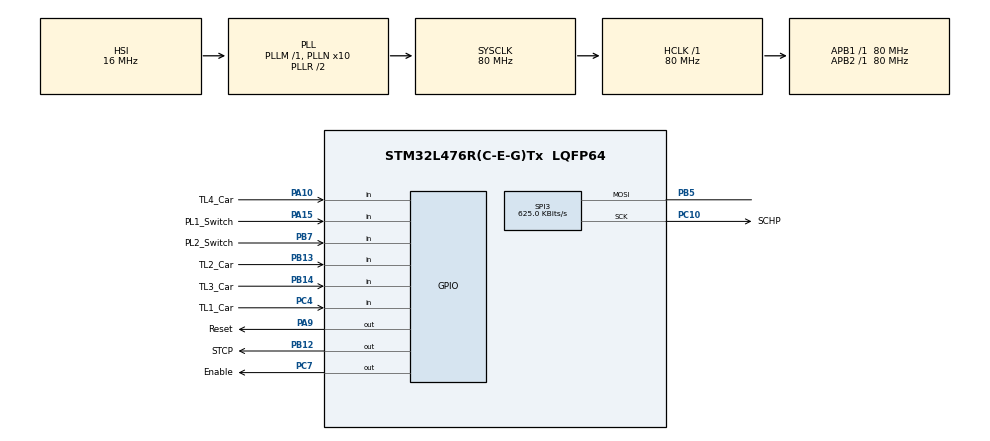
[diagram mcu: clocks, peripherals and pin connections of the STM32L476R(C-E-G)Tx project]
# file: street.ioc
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FREERTOS.BinarySemaphores01=buttonsSem,Dynamic,NULL;switchesSem,Dynamic,NULL
FREERTOS.Mutexes01=event,Dynamic,NULL
FREERTOS.Tasks01=defaultTask,50,128,StartDefaultTask,Default,NULL,Dynamic,NULL,NULL;GPIO_Button1,40,128,Button_Task1,Default,NULL,Dynamic,NULL,NULL;GPIO_Switches,40,128,Switches,Default,NULL,Dynamic,NULL,NULL;Timer_Func,49,128,timer,Default,NULL,Dynamic,NULL,NULL;GPIO_Button2,40,128,Button_Task2,Default,NULL,Dynamic,NULL,NULL
FREERTOS.configTOTAL_HEAP_SIZE=4000
FREERTOS.configUSE_NEWLIB_REENTRANT=1
Mcu.Family=STM32L4
Mcu.Name=STM32L476R(C-E-G)Tx
Mcu.Package=LQFP64
NVIC.PriorityGroup=NVIC_PRIORITYGROUP_4
NVIC.TIM1_UP_TIM16_IRQn=true\:15\:0\:false\:false\:true\:false\:false\:true\:true
NVIC.TimeBase=TIM1_UP_TIM16_IRQn
NVIC.TimeBaseIP=TIM1
PA10.GPIO_Label=TL4_Car
PA10.Signal=GPIO_Input
PA15\ (JTDI).GPIO_Label=PL1_Switch
PA15\ (JTDI).GPIO_PuPd=GPIO_PULLUP
PA15\ (JTDI).Signal=GPIO_Input
PA9.GPIO_Label=Reset
PA9.Signal=GPIO_Output
PB12.GPIO_Label=STCP
PB12.Signal=GPIO_Output
PB13.GPIO_Label=TL2_Car
PB13.Signal=GPIO_Input
PB14.GPIO_Label=TL3_Car
PB14.Signal=GPIO_Input
PB5.Mode=Simplex_Bidirectional_Master
PB5.Signal=SPI3_MOSI
PB7.GPIO_Label=PL2_Switch
PB7.GPIO_PuPd=GPIO_PULLUP
PB7.Signal=GPIO_Input
PC10.GPIO_Label=SCHP
PC10.Mode=Simplex_Bidirectional_Master
PC10.Signal=SPI3_SCK
PC4.GPIO_Label=TL1_Car
PC4.Signal=GPIO_Input
PC7.GPIO_Label=Enable
PC7.Signal=GPIO_Output
PH0-OSC_IN\ (PH0).Mode=HSE-External-Oscillator
PH0-OSC_IN\ (PH0).Signal=RCC_OSC_IN
PH1-OSC_OUT\ (PH1).Mode=HSE-External-Oscillator
PH1-OSC_OUT\ (PH1).Signal=RCC_OSC_OUT
ProjectManager.HeapSize=0x200
ProjectManager.StackSize=0x400
ProjectManager.TargetToolchain=STM32CubeIDE
RCC.ADCFreq_Value=64000000
RCC.AHBFreq_Value=80000000
RCC.APB1Freq_Value=80000000
RCC.APB1TimFreq_Value=80000000
RCC.APB2Freq_Value=80000000
RCC.APB2TimFreq_Value=80000000
RCC.CortexFreq_Value=80000000
RCC.HCLKFreq_Value=80000000
RCC.HSE_VALUE=8000000
RCC.HSI_VALUE=16000000
RCC.LSE_VALUE=32768
RCC.MSI_VALUE=4000000
RCC.PLLN=10
RCC.PLLSourceVirtual=RCC_PLLSOURCE_HSI
RCC.PREFETCH_ENABLE=1
RCC.SYSCLKFreq_VALUE=80000000
RCC.SYSCLKSource=RCC_SYSCLKSOURCE_PLLCLK
RCC.USBFreq_Value=64000000
RCC.VCOOutputFreq_Value=160000000
SPI3.BaudRatePrescaler=SPI_BAUDRATEPRESCALER_128
SPI3.CalculateBaudRate=625.0 KBits/s
SPI3.DataSize=SPI_DATASIZE_8BIT
SPI3.Direction=SPI_DIRECTION_1LINE
SPI3.Mode=SPI_MODE_MASTER
SPI3.VirtualType=VM_MASTER
VP_FREERTOS_VS_CMSIS_V2.Mode=CMSIS_V2
VP_SYS_VS_tim1.Mode=TIM1
board=NUCLEO-L476RG

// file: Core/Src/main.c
/* USER CODE BEGIN Header */
/**
  ******************************************************************************
  * @file           : main.c
  * @brief          : Main program body
  ******************************************************************************
  * @attention
  *
  * Copyright (c) 2022 STMicroelectronics.
  * All rights reserved.
  *
  * This software is licensed under terms that can be found in the LICENSE file
  * in the root directory of this software component.
  * If no LICENSE file comes with this software, it is provided AS-IS.
  *
  ******************************************************************************
  */
/* USER CODE END Header */
#include "main.h"
#include "cmsis_os.h"
#include "spi.h"
#include "gpio.h"

/* USER CODE BEGIN Includes */
#include "FreeRTOS.h"
#include "streetFunc.H"

//#define RUN_TEST_PROGRAM

/* USER CODE END Includes */

void SystemClock_Config(void);
void MX_FREERTOS_Init(void);

int main(void)
{

  /* MCU Configuration--------------------------------------------------------*/

  /* Reset of all peripherals, Initializes the Flash interface and the Systick. */
  HAL_Init();

  /* Configure the system clock */
  SystemClock_Config();

  /* Initialize all configured peripherals */
  MX_GPIO_Init();
  MX_SPI3_Init();
  /* USER CODE BEGIN 2 */
  /* USER CODE BEGIN 2 */
  HAL_GPIO_WritePin(Reset_GPIO_Port, Reset_Pin, GPIO_PIN_SET);
    //Set Enable active low
  HAL_GPIO_WritePin(Enable_GPIO_Port, Enable_Pin, GPIO_PIN_RESET);
#ifdef RUN_TEST_PROGRAM
  	  Test_program();
#else
  	  Led_Clear();
  	 osKernelInitialize();  /* Call init function for freertos objects (in freertos.c) */
  	  MX_FREERTOS_Init();

  	  /* Start scheduler */
  	  osKernelStart();
#endif
  /* USER CODE END 2 */

  /* Init scheduler */
  osKernelInitialize();  /* Call init function for freertos objects (in freertos.c) */
  MX_FREERTOS_Init();

  /* Start scheduler */
  osKernelStart();

  /* We should never get here as control is now taken by the scheduler */
  /* Infinite loop */
  while (1)
  {

  }
}

void SystemClock_Config(void)
{
  RCC_OscInitTypeDef RCC_OscInitStruct = {0};
  RCC_ClkInitTypeDef RCC_ClkInitStruct = {0};

  /** Configure the main internal regulator output voltage
  */
  if (HAL_PWREx_ControlVoltageScaling(PWR_REGULATOR_VOLTAGE_SCALE1) != HAL_OK)
  {
    Error_Handler();
  }

  /** Initializes the RCC Oscillators according to the specified parameters
  * in the RCC_OscInitTypeDef structure.
  */
  RCC_OscInitStruct.OscillatorType = RCC_OSCILLATORTYPE_HSI;
  RCC_OscInitStruct.HSIState = RCC_HSI_ON;
  RCC_OscInitStruct.HSICalibrationValue = RCC_HSICALIBRATION_DEFAULT;
  RCC_OscInitStruct.PLL.PLLState = RCC_PLL_ON;
  RCC_OscInitStruct.PLL.PLLSource = RCC_PLLSOURCE_HSI;
  RCC_OscInitStruct.PLL.PLLM = 1;
  RCC_OscInitStruct.PLL.PLLN = 10;
  RCC_OscInitStruct.PLL.PLLP = RCC_PLLP_DIV7;
  RCC_OscInitStruct.PLL.PLLQ = RCC_PLLQ_DIV2;
  RCC_OscInitStruct.PLL.PLLR = RCC_PLLR_DIV2;
  if (HAL_RCC_OscConfig(&RCC_OscInitStruct) != HAL_OK)
  {
    Error_Handler();
  }

  /** Initializes the CPU, AHB and APB buses clocks
  */
  RCC_ClkInitStruct.ClockType = RCC_CLOCKTYPE_HCLK|RCC_CLOCKTYPE_SYSCLK
                              |RCC_CLOCKTYPE_PCLK1|RCC_CLOCKTYPE_PCLK2;
  RCC_ClkInitStruct.SYSCLKSource = RCC_SYSCLKSOURCE_PLLCLK;
  RCC_ClkInitStruct.AHBCLKDivider = RCC_SYSCLK_DIV1;
  RCC_ClkInitStruct.APB1CLKDivider = RCC_HCLK_DIV1;
  RCC_ClkInitStruct.APB2CLKDivider = RCC_HCLK_DIV1;

  if (HAL_RCC_ClockConfig(&RCC_ClkInitStruct, FLASH_LATENCY_4) != HAL_OK)
  {
    Error_Handler();
  }
}

void HAL_TIM_PeriodElapsedCallback(TIM_HandleTypeDef *htim)
{
  if (htim->Instance == TIM1) {
    HAL_IncTick();
  }
}

void Error_Handler(void)
{
  __disable_irq();
  while (1)
  {
  }
}

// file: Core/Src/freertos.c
/* USER CODE BEGIN Header */
/**
  ******************************************************************************
  * @file          : freertos.c
  * @brief        : Code for freertos applications
  ******************************************************************************
  * @attention
  *
  * Copyright (c) 2022 STMicroelectronics.
  * All rights reserved.
  *
  * This software is licensed under terms that can be found in the LICENSE file
  * in the root directory of this software component.
  * If no LICENSE file comes with this software, it is provided AS-IS.
  *
  ******************************************************************************
  */
/* USER CODE END Header */

#include "FreeRTOS.h"
#include "task.h"
#include "main.h"
#include "cmsis_os.h"

/* USER CODE BEGIN Includes */
#include <stdbool.h>
#include "streetFunc.h"
#include "Test.h"
/* USER CODE END Includes */

/* USER CODE BEGIN PTD */
typedef enum {
	Vertical, Horizontal, Yellow
} states1;

typedef enum {
	Default, Button1, Button2, Horizontal_Car, Vertical_Car
} states2;

static states1 state;
static states2 GPIO_State;
/* USER CODE END PTD */

/* USER CODE BEGIN Variables */
bool Waiting_Cars = false; /*! Control variable to see if a car is waiting at a red light*/

uint32_t toggleFreq = 100; /*!Toogle frequency for pedestrian light*/
uint32_t pedestrianDelay = 6000; /*!Time from pedestrian button pressed to green light*/
uint32_t walkingDelay = 15000; /*!Delay for pedestrian crossing*/
uint32_t orangeDelay = 3000; /*!Delay for orange light time*/
uint32_t greenDelay = 6000; /*!The default delay between green-yellow red-yellow when no cars are present*/
uint32_t redDelayMax = 5000; /*!The maximum delay a car has a red light when arriving at the crossing when cars going vertically are present.*/
/* USER CODE END Variables */
/* Definitions for defaultTask */
osThreadId_t defaultTaskHandle;
const osThreadAttr_t defaultTask_attributes = {
  .name = "defaultTask",
  .stack_size = 128 * 4,
  .priority = (osPriority_t) osPriorityRealtime2,
};
/* Definitions for GPIO_Button1 */
osThreadId_t GPIO_Button1Handle;
const osThreadAttr_t GPIO_Button1_attributes = {
  .name = "GPIO_Button1",
  .stack_size = 128 * 4,
  .priority = (osPriority_t) osPriorityHigh,
};
/* Definitions for GPIO_Switches */
osThreadId_t GPIO_SwitchesHandle;
const osThreadAttr_t GPIO_Switches_attributes = {
  .name = "GPIO_Switches",
  .stack_size = 128 * 4,
  .priority = (osPriority_t) osPriorityHigh,
};
/* Definitions for Timer_Func */
osThreadId_t Timer_FuncHandle;
const osThreadAttr_t Timer_Func_attributes = {
  .name = "Timer_Func",
  .stack_size = 128 * 4,
  .priority = (osPriority_t) osPriorityRealtime1,
};
/* Definitions for GPIO_Button2 */
osThreadId_t GPIO_Button2Handle;
const osThreadAttr_t GPIO_Button2_attributes = {
  .name = "GPIO_Button2",
  .stack_size = 128 * 4,
  .priority = (osPriority_t) osPriorityHigh,
};
/* Definitions for event */
osMutexId_t eventHandle;
const osMutexAttr_t event_attributes = {
  .name = "event"
};
/* Definitions for buttonsSem */
osSemaphoreId_t buttonsSemHandle;
const osSemaphoreAttr_t buttonsSem_attributes = {
  .name = "buttonsSem"
};
/* Definitions for switchesSem */
osSemaphoreId_t switchesSemHandle;
const osSemaphoreAttr_t switchesSem_attributes = {
  .name = "switchesSem"
};

void StartDefaultTask(void *argument);
void Button_Task1(void *argument);
void Switches(void *argument);
void timer(void *argument);
void Button_Task2(void *argument);
void Stall_Function(uint32_t delay);
void Button1_TimerHandler(void);
void Button2_TimerHandler(void);

void MX_FREERTOS_Init(void); /* (MISRA C 2004 rule 8.1) */

void MX_FREERTOS_Init(void) {
  /* Create the mutex(es) */
  /* creation of event */
  eventHandle = osMutexNew(&event_attributes);

  /* Create the semaphores(s) */
  /* creation of buttonsSem */
  buttonsSemHandle = osSemaphoreNew(1, 1, &buttonsSem_attributes);

  /* creation of switchesSem */
  switchesSemHandle = osSemaphoreNew(1, 1, &switchesSem_attributes);

  /* Create the thread(s) */
  /* creation of defaultTask */
  defaultTaskHandle = osThreadNew(StartDefaultTask, NULL, &defaultTask_attributes);

  /* creation of GPIO_Button1 */
  GPIO_Button1Handle = osThreadNew(Button_Task1, NULL, &GPIO_Button1_attributes);

  /* creation of GPIO_Switches */
  GPIO_SwitchesHandle = osThreadNew(Switches, NULL, &GPIO_Switches_attributes);

  /* creation of Timer_Func */
  Timer_FuncHandle = osThreadNew(timer, NULL, &Timer_Func_attributes);

  /* creation of GPIO_Button2 */
  GPIO_Button2Handle = osThreadNew(Button_Task2, NULL, &GPIO_Button2_attributes);

}

void StartDefaultTask(void *argument)
{
	/* USER CODE BEGIN StartDefaultTask */
	/*!Highest priority task which cycles through the different states
	Depending on the delay in Timer-task*/
	GPIO_State = Default; /*!Set the GPIO to default, meaning no user input at initialisation*/
	/* Infinite loop */
	for (;;) {
		state = Vertical;
		States(1); /*!Display the LEDS for when cars going vertically has the green light*/
		vTaskDelay(1); /*! Small delay to prevent loss of data to the LEDS*/
		vTaskSuspend(defaultTaskHandle); /*! Suspend the default program to continue on to the Timer task*/

		state = Yellow; /*! Switch the state to show the yellow lights*/
		States(3);
		vTaskSuspend(defaultTaskHandle);

		state = Horizontal;
		States(2);
		vTaskDelay(1);
		vTaskSuspend(defaultTaskHandle);

		state = Yellow;
		States(3);
		vTaskDelay(1);
		vTaskSuspend(defaultTaskHandle);

	}
	/* USER CODE END StartDefaultTask */
}

void Button_Task1(void *argument)
{
	/* USER CODE BEGIN Button_Task1 */
	/* Infinite loop */
	for (;;) {
		if (Crossing_Button1() == true && state != Horizontal) /*! If Button 1 is pressed and the pedestrian light isn't already green*/
			while (state != Horizontal) { /*! While the pedestrian crossing isn't green*/
				Flash_Led(6, 'b', 1, 1); /*! Flash the corresponding blue light*/
				vTaskDelay(pdMS_TO_TICKS(toggleFreq)); /*! Delay the task to receive a delay between blinks while letting the other tasks continue to work*/
				if ((osSemaphoreAcquire(buttonsSemHandle, 1) == osOK)) /*! If the other crossing isn't in operation change the state to effect the delay*/
					GPIO_State = Button1;
			}
		Blue_Clear1(); /*! Function to clear the Blue LED to avoid any lingering light*/

	}
	/* USER CODE END Button_Task1 */
}

void Switches(void *argument)
{
	/* USER CODE BEGIN Switches */
	/* Infinite loop */
	for (;;) {
		if ((osSemaphoreAcquire(buttonsSemHandle, 1) == osOK)) { /*! If the buttons are not in use*/
			osSemaphoreRelease(buttonsSemHandle);
			if (Car_Vertical() == true && Car_Horizontal() == true
					&& GPIO_State != (Button1 || Button2)) { /*! If there is a car wating in both ways, and there are no pedestrians crossing*/
				GPIO_State = Default; /*! Change the state to default altering lights but with a new delay*/
				Waiting_Cars = true; /*! Telling the timer task that there are cars waiting in both directions.*/
			}

			else if (Car_Horizontal() == true && Car_Vertical() == false
					&& GPIO_State != (Button1 || Button2)) { /*! If a car is waiting in the horizontal direction and there are no pedestrians*/
				GPIO_State = Horizontal_Car;
			}

			else if (Car_Vertical() == true && Car_Horizontal() == false
					&& GPIO_State != (Button1 || Button2)) { /*! If a car is waiting in the vertical direction and there are no pedestrians*/
				GPIO_State = Vertical_Car;
			} else if (GPIO_State != (Button1 || Button2)) { /*! If there are no cars, and no pedestrians*/
				GPIO_State = Default;
				Waiting_Cars = false; /*! Clear waiting cars because there are none*/
			}
		}
	}
	/* USER CODE END Switches */
}

void timer(void *argument)
{
	/* USER CODE BEGIN timer */
	/* Infinite loop */
	for (;;) {
		switch (GPIO_State) {
		case Default: {
			if (state == Yellow) {
				Stall_Function(orangeDelay);
			} else if (Waiting_Cars == true) {
				Stall_Function(redDelayMax);
			} else {
				Stall_Function(greenDelay);
			}
			break;
		}
		case Button1: { //if any of buttons been pressed
			Button1_TimerHandler();

			break;
		}
		case Button2: { //if any of buttons been pressed
			Button2_TimerHandler();
			break;
		}
		case Horizontal_Car: {
			if (state == Horizontal) {
				vTaskDelay(10);
			} else {
				vTaskResume(defaultTaskHandle);

			}
			break;
		}
		case Vertical_Car: {
			if (state == Vertical) {
				vTaskDelay(10);
			} else {
				vTaskResume(defaultTaskHandle);

			}

			break;
		}

		}
	}

	/* USER CODE END timer */
}

void Button_Task2(void *argument)
{
	/* USER CODE BEGIN Button_Task2 */
	/* Infinite loop */
	for (;;) {
		if (Crossing_Button2() == true && state != Vertical) {
			while (state != Vertical) {
				Flash_Led(5, 'b', 1, 1);
				vTaskDelay(pdMS_TO_TICKS(toggleFreq));
				if ((osSemaphoreAcquire(buttonsSemHandle, 1) == osOK))
					GPIO_State = Button2;
			}
			Blue_Clear2();
		}
	}
	/* USER CODE END Button_Task2 */
}

/* USER CODE BEGIN Application */
/**
* @brief Function for delaying Timer task and starting the main task
* @param Delay time stated in miliseconds
* @retval None
*/
void Stall_Function(uint32_t delay) {
	vTaskDelay(pdMS_TO_TICKS(delay));
	vTaskResume(defaultTaskHandle);
}
/**
* @brief Function handeling delays when button 1 has been pressed
* @param argument: Not used
* @retval None
*/
void Button1_TimerHandler(void) {
	if (state == Yellow) { //if the button was pressed when there was a orange light
		Stall_Function(orangeDelay);
	} else if (state == Horizontal) {
		vTaskDelay(pdMS_TO_TICKS(walkingDelay));
		osSemaphoreRelease(buttonsSemHandle);
		GPIO_State = Default;
	} else {
		Stall_Function(pedestrianDelay - orangeDelay);
		Stall_Function(orangeDelay);
		vTaskDelay(pdMS_TO_TICKS(walkingDelay));
		osSemaphoreRelease(buttonsSemHandle);
		GPIO_State = Default;
	}
}
/**
* @brief Function handling delays when button 2 has been pressed
* @param argument: Not used
* @retval None
*/
void Button2_TimerHandler(void) {
	if (state == Yellow) { //if the button was pressed when there was a orange light
		Stall_Function(orangeDelay);
	} else if (state == Vertical) {
		vTaskDelay(pdMS_TO_TICKS(walkingDelay));
		osSemaphoreRelease(buttonsSemHandle);
		GPIO_State = Default;
	} else {
		Stall_Function(pedestrianDelay - orangeDelay);
		Stall_Function(orangeDelay);
		vTaskDelay(pdMS_TO_TICKS(walkingDelay));
		osSemaphoreRelease(buttonsSemHandle);
		GPIO_State = Default;
	}
}
/* USER CODE END Application */
